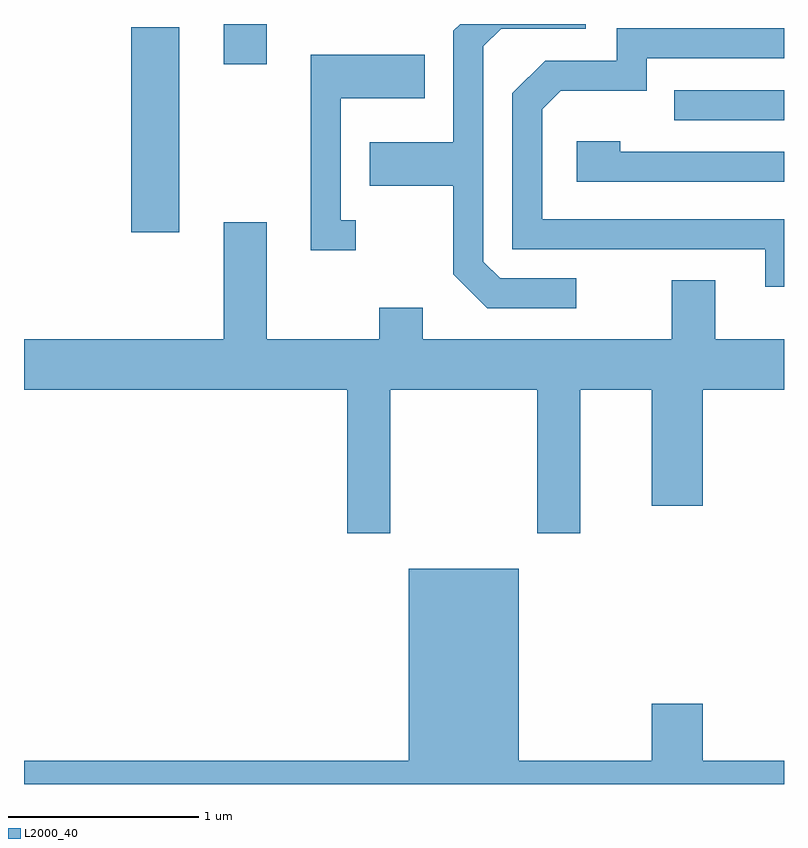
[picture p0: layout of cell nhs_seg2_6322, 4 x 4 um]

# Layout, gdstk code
import gdstk
lib = gdstk.Library(unit=1e-6, precision=1e-09)
def R(c, l, rs):  # rectangles x0, y0, x1, y1
    for r in rs: c.add(gdstk.rectangle(r[:2], r[2:], *l))
def P(c, l, *ps):  # polygons
    for p in ps: c.add(gdstk.Polygon(p, *l))
L2000_40 = (2000, 40)

nhs_seg2_6322 = lib.new_cell('nhs_seg2_6322')
R(nhs_seg2_6322, L2000_40, [(372.176,1044.706,372.429,1045.784), (375.033,1045.296,375.611,1045.454), (372.661,1045.591,372.889,1045.802)])
P(nhs_seg2_6322, L2000_40, [(374.518,1044.464),(374.117,1044.464),(374.029,1044.552),(374.029,1045.684),(374.122,1045.776),(374.568,1045.776),(374.568,1045.802),(373.906,1045.802),(373.871,1045.767),(373.871,1045.179),(373.431,1045.179),(373.431,1044.951),(373.871,1044.951),(373.871,1044.484),(374.049,1044.306),(374.518,1044.306)],
  [(375.611,1044.774),(374.339,1044.774),(374.339,1045.353),(374.437,1045.451),(374.889,1045.451),(374.889,1045.621),(375.611,1045.621),(375.611,1045.779),(374.731,1045.779),(374.731,1045.609),(374.354,1045.609),(374.181,1045.437),(374.181,1044.616),(375.511,1044.616),(375.511,1044.418),(375.611,1044.418)],
  [(373.358,1044.769),(373.279,1044.769),(373.279,1045.411),(373.719,1045.411),(373.719,1045.639),(373.121,1045.639),(373.121,1044.611),(373.358,1044.611)],
  [(375.611,1045.129),(374.749,1045.129),(374.749,1045.184),(374.521,1045.184),(374.521,1044.971),(375.611,1044.971)],
  [(373.539,1043.876),(374.311,1043.876),(374.311,1043.121),(374.539,1043.121),(374.539,1043.876),(374.916,1043.876),(374.916,1043.266),(375.184,1043.266),(375.184,1043.876),(375.611,1043.876),(375.611,1044.144),(375.249,1044.144),(375.249,1044.454),(375.021,1044.454),(375.021,1044.144),(373.709,1044.144),(373.709,1044.309),(373.481,1044.309),(373.481,1044.144),(372.889,1044.144),(372.889,1044.759),(372.661,1044.759),(372.661,1044.144),(371.611,1044.144),(371.611,1043.876),(373.311,1043.876),(373.311,1043.121),(373.539,1043.121)],
  [(375.611,1041.924),(375.184,1041.924),(375.184,1042.224),(374.916,1042.224),(374.916,1041.924),(374.214,1041.924),(374.214,1042.934),(373.636,1042.934),(373.636,1041.924),(371.611,1041.924),(371.611,1041.802),(375.611,1041.802)])

lib.write_gds('nhs_seg2_6322.gds')
